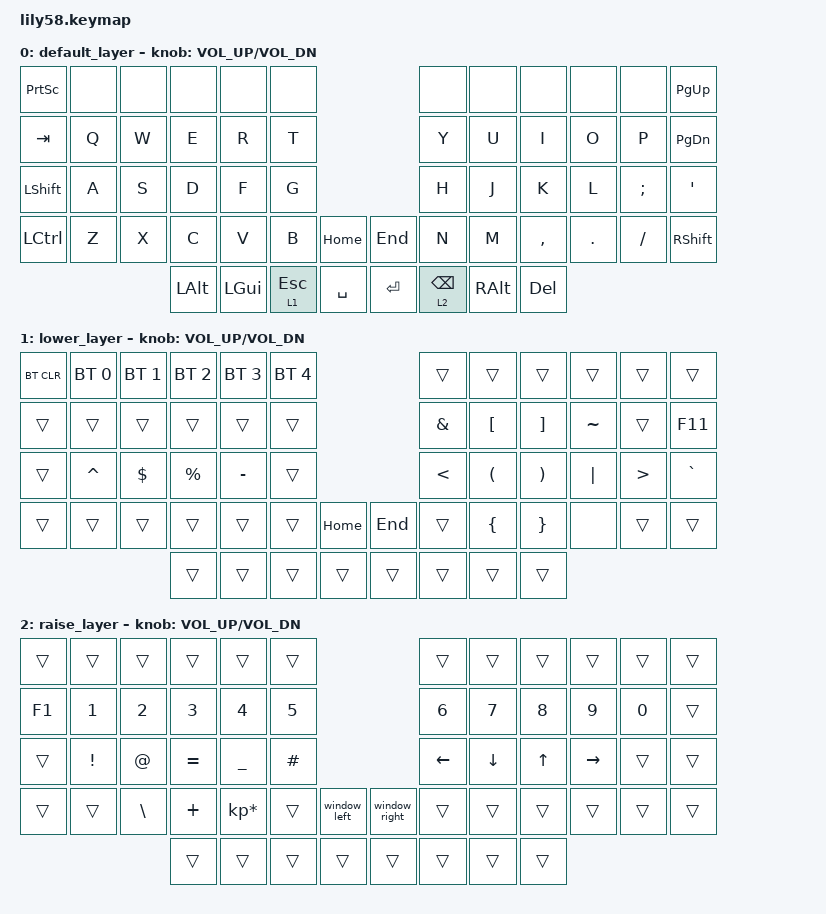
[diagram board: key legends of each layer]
/*
 * Copyright (c) 2020 The ZMK Contributors
 *
 * SPDX-License-Identifier: MIT
 */

#include <behaviors.dtsi>
#include <dt-bindings/zmk/bt.h>
#include <dt-bindings/zmk/keys.h>

/ {
    macros {
        window_left: new_macro {
            compatible = "zmk,behavior-macro";
            #binding-cells = <0>;
            bindings =
                <&macro_press>,
                <&kp LGUI>,
                <&macro_tap>,
                <&kp LEFT>,
                <&macro_release>,
                <&kp LGUI>;

            label = "NEW_MACRO";
        };

        window_right: window_right {
            compatible = "zmk,behavior-macro";
            #binding-cells = <0>;
            bindings =
                <&macro_press>,
                <&kp LGUI>,
                <&macro_tap>,
                <&kp RIGHT>,
                <&macro_release>,
                <&kp LGUI>;

            label = "WINDOW_RIGHT";
        };

        window_down: window_down {
            compatible = "zmk,behavior-macro";
            #binding-cells = <0>;
            bindings =
                <&macro_press>,
                <&kp LGUI>,
                <&macro_tap>,
                <&kp DOWN>,
                <&macro_release>,
                <&kp LGUI>;

            label = "WINDOW_DOWN";
        };

        window_up: window_up {
            compatible = "zmk,behavior-macro";
            #binding-cells = <0>;
            bindings =
                <&macro_press>,
                <&kp LGUI>,
                <&macro_tap>,
                <&kp UP_ARROW>,
                <&macro_release>,
                <&kp LGUI>;

            label = "WINDOW_UP";
        };

        window_left_screen: window_left_screen {
            compatible = "zmk,behavior-macro";
            #binding-cells = <0>;
            bindings =
                <&macro_press>,
                <&kp LGUI &kp LEFT_SHIFT>,
                <&macro_tap>,
                <&kp LEFT_ARROW>,
                <&macro_release>,
                <&kp LGUI &kp LSHFT>;

            label = "WINDOW_LEFT_SCREEN";
        };

        window_right_screen: window_right_screen {
            compatible = "zmk,behavior-macro";
            #binding-cells = <0>;
            bindings =
                <&macro_press>,
                <&kp LGUI &kp LEFT_SHIFT>,
                <&macro_tap>,
                <&kp RIGHT>,
                <&macro_release>,
                <&kp LGUI &kp LSHFT>;

            label = "WINDOW_RIGHT_SCREEN";
        };
    };

    keymap {
        compatible = "zmk,keymap";

        default_layer {
            // ------------------------------------------------------------------------------------------------------------
            // |  ESC  |  1  |  2  |  3   |  4   |  5   |                   |  6   |  7    |  8    |  9   |   0   |   `   |
            // |  TAB  |  Q  |  W  |  E   |  R   |  T   |                   |  Y   |  U    |  I    |  O   |   P   |   -   |
            // |  CTRL |  A  |  S  |  D   |  F   |  G   |                   |  H   |  J    |  K    |  L   |   ;   |   '   |
            // | SHIFT |  Z  |  X  |  C   |  V   |  B   |   "["  |  |  "]"  |  N   |  M    |  ,    |  .   |   /   | SHIFT |
            //                     | ALT  | GUI  | LOWER|  SPACE |  | ENTER | RAISE| BSPC  | GUI   |

            bindings = <
&kp PRINTSCREEN  &none  &none  &none     &none     &none                               &none            &none     &none       &none    &none          &kp PAGE_UP
&kp TAB          &kp Q  &kp W  &kp E     &kp R     &kp T                               &kp Y            &kp U     &kp I       &kp O    &kp P          &kp PAGE_DOWN
&kp LEFT_SHIFT   &kp A  &kp S  &kp D     &kp F     &kp G                               &kp H            &kp J     &kp K       &kp L    &kp SEMICOLON  &kp SQT
&kp LCTRL        &kp Z  &kp X  &kp C     &kp V     &kp B         &kp HOME     &kp END  &kp N            &kp M     &kp COMMA   &kp DOT  &kp FSLH       &kp RSHFT
                               &kp LALT  &kp LGUI  &lt 1 ESCAPE  &kp SPACE    &kp RET  &lt 2 BACKSPACE  &kp RALT  &kp DELETE
            >;

            sensor-bindings = <&inc_dec_kp C_VOL_UP C_VOL_DN>;
        };

        lower_layer {
            // ------------------------------------------------------------------------------------------------------------
            // | BTCLR | BT1 | BT2 |  BT3 |  BT4 |  BT5 |                   |      |       |       |      |       |       |
            // |  F1   |  F2 |  F3 |  F4  |  F5  |  F6  |                   |  F7  |  F8   |  F9   |  F10 |  F11  |  F12  |
            // |   `   |  !  |  @  |  #   |  $   |  %   |                   |  ^   |  &    |  *    |  (   |   )   |   ~   |
            // |       |     |     |      |      |      |        |  |       |      |  _    |  +    |  {   |   }   |  "|"  |
            //                     |      |      |      |        |  |       |      |       |       |

            bindings = <
&bt BT_CLR  &bt BT_SEL 0  &bt BT_SEL 1  &bt BT_SEL 2  &bt BT_SEL 3  &bt BT_SEL 4                       &trans         &trans                &trans                 &trans     &trans            &trans
&trans      &trans        &trans        &trans        &trans        &trans                             &kp AMPERSAND  &kp LEFT_BRACKET      &kp RIGHT_BRACKET      &kp TILDE  &trans            &kp F11
&trans      &kp CARET     &kp DOLLAR    &kp PERCENT   &kp MINUS     &trans                             &kp LT         &kp LEFT_PARENTHESIS  &kp RIGHT_PARENTHESIS  &kp PIPE   &kp GREATER_THAN  &kp GRAVE
&trans      &trans        &trans        &trans        &trans        &trans        &kp HOME    &kp END  &trans         &kp LEFT_BRACE        &kp RIGHT_BRACE        &none      &trans            &trans
                                        &trans        &trans        &trans        &trans      &trans   &trans         &trans                &trans
            >;

            sensor-bindings = <&inc_dec_kp C_VOL_UP C_VOL_DN>;
        };

        raise_layer {
            // ------------------------------------------------------------------------------------------------------------
            // |       |     |     |      |      |      |                   |      |       |       |      |       |       |
            // |   `   |  1  |  2  |  3   |  4   |  5   |                   |  6   |   7   |   8   |  9   |   0   |       |
            // |   F1  |  F2 |  F3 |  F4  |  F5  |  F6  |                   |      |   <-  |   v   |  ^   |  ->   |       |
            // |   F7  |  F8 |  F9 |  F10 |  F11 |  F12 |        |  |       |  +   |   -   |   =   |  [   |   ]   |   \   |
            //                     |      |      |      |        |  |       |      |       |       |

            bindings = <
&trans  &trans        &trans         &trans        &trans           &trans                                   &trans          &trans          &trans        &trans     &trans  &trans
&kp F1  &kp NUMBER_1  &kp NUMBER_2   &kp NUMBER_3  &kp NUMBER_4     &kp N5                                   &kp N6          &kp N7          &kp N8        &kp N9     &kp N0  &trans
&trans  &kp EXCL      &kp AT         &kp EQUAL     &kp UNDERSCORE   &kp HASH                                 &kp LEFT_ARROW  &kp DOWN_ARROW  &kp UP_ARROW  &kp RIGHT  &trans  &trans
&trans  &trans        &kp BACKSLASH  &kp PLUS      &kp KP_ASTERISK  &trans    &window_left    &window_right  &trans          &trans          &trans        &trans     &trans  &trans
                                     &trans        &trans           &trans    &trans          &trans         &trans          &trans          &trans
            >;

            sensor-bindings = <&inc_dec_kp C_VOL_UP C_VOL_DN>;
        };
    };
};
